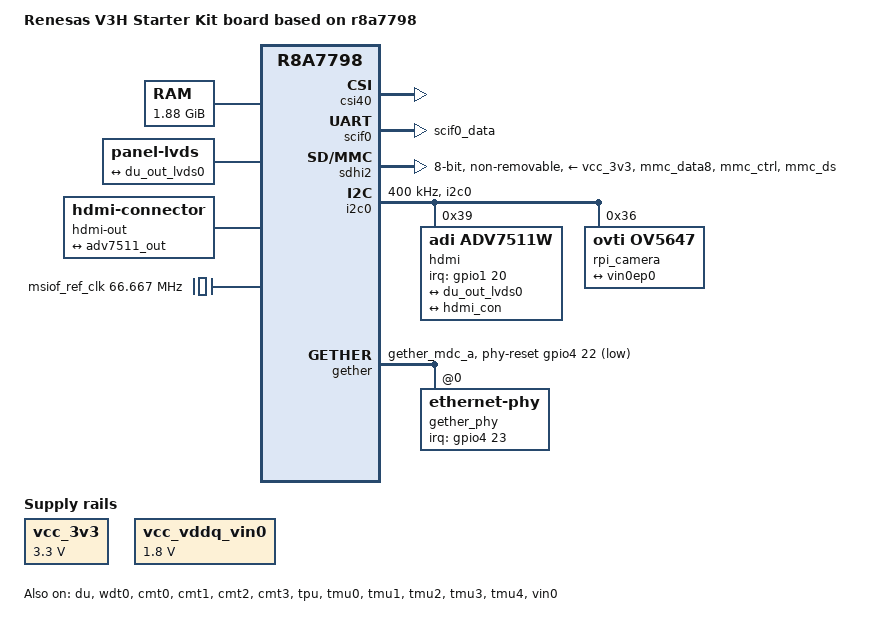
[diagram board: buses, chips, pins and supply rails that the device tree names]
/*
 * Device Tree Source for the V3H Starter Kit board on r8a7798
 *
 * Copyright (C) 2018 Renesas Electronics Corp.
 * Copyright (C) 2018 Cogent Embedded, Inc.
 *
 * This file is licensed under the terms of the GNU General Public License
 * version 2.  This program is licensed "as is" without any warranty of any
 * kind, whether express or implied.
 */

/dts-v1/;
#include "r8a7798.dtsi"
#include <dt-bindings/gpio/gpio.h>

/ {
	model = "Renesas V3H Starter Kit board based on r8a7798";
	compatible = "renesas,v3hsk", "renesas,r8a7798";

	aliases {
		serial0 = &scif0;
		ethernet0 = &gether;
	};

	chosen {
		bootargs = "ignore_loglevel rw root=/dev/nfs ip=dhcp";
		stdout-path = "serial0:115200n8";
	};


	memory@48000000 {
		device_type = "memory";
		/* first 128MB is reserved for secure area. */
		reg = <0x0 0x48000000 0x0 0x78000000>;
	};

	reserved-memory {
		#address-cells = <2>;
		#size-cells = <2>;
		ranges;

		/* device specific region for Lossy Decompression */
		lossy_decompress: linux,lossy_decompress {
			no-map;
			reg = <0x00000000 0x6c000000 0x0 0x03000000>;
		};

		/* global autoconfigured region for contiguous allocations */
		linux,cma {
			compatible = "shared-dma-pool";
			reusable;
			reg = <0x00000000 0x6f000000 0x0 0x10000000>;
			linux,cma-default;
		};

		/* device specific region for contiguous allocations */
		linux,multimedia {
			compatible = "shared-dma-pool";
			reusable;
			reg = <0x00000000 0x7f000000 0x0 0x01000000>;
		};
	};

	mmngr {
		compatible = "renesas,mmngr";
		memory-region = <&lossy_decompress>;
	};

	mmngrbuf {
		compatible = "renesas,mmngrbuf";
	};

	vspm_if {
		compatible = "renesas,vspm_if";
	};

	lvds {
		compatible = "panel-lvds";

		width-mm = <210>;
		height-mm = <158>;

		data-mapping = "jeida-24";

		panel-timing {
			clock-frequency = <65000000>;
			hactive = <1280>;
			vactive = <720>;
			hsync-len = <40>;
			hfront-porch = <80>;
			hback-porch = <40>;
			vfront-porch = <14>;
			vback-porch = <14>;
			vsync-len = <4>;
		};

		port {
			lvds_in: endpoint {
				remote-endpoint = <&du_out_lvds0>;
			};
		};
	};

	hdmi-out {
		compatible = "hdmi-connector";
		type = "a";

		port {
			hdmi_con: endpoint {
				remote-endpoint = <&adv7511_out>;
			};
		};
	};

	dclkin_p0: clock-out0 {
		compatible = "fixed-clock";
		#clock-cells = <0>;
		clock-frequency = <148500000>;
	};

	msiof_ref_clk: msiof-ref-clock {
		compatible = "fixed-clock";
		#clock-cells = <0>;
		clock-frequency = <66666666>;
	};

	vcc_3v3: regulator0 {
		compatible = "regulator-fixed";
		regulator-name = "fixed-VCC3V3";
		regulator-min-microvolt = <3300000>;
		regulator-max-microvolt = <3300000>;
		regulator-boot-on;
		regulator-always-on;
	};

	vcc_vddq_vin0: regulator1 {
		compatible = "regulator-fixed";
		regulator-name = "VCC-VDDQ-VIN0";
		regulator-min-microvolt = <1800000>;
		regulator-max-microvolt = <1800000>;
		regulator-boot-on;
		regulator-always-on;
	};
};

&csi40 {
	status = "okay";

	virtual,channel {
		csi2_vc0 {
			data,type = "raw8";
			receive,vc = <0>;
		};
	};

	port {
		#address-cells = <1>;
		#size-cells = <0>;

		csi40_ep: endpoint {
			clock-lanes = <0>;
			data-lanes = <1 2>;
			csi-rate = <280>;
		};
	};
};

&du {
	status = "okay";

	ports {
		port@0 {
			endpoint {
				remote-endpoint = <&adv7511_in>;
//				remote-endpoint = <&lvds_in>;
			};
		};
	};
};

&extal_clk {
	clock-frequency = <16666666>;
};

&extalr_clk {
	clock-frequency = <32768>;
};

&pfc {
	pinctrl-0 = <&scif_clk_pins>;
	pinctrl-names = "default";

	scif0_pins: scif0 {
		groups = "scif0_data";
		function = "scif0";
	};

	scif_clk_pins: scif_clk {
		groups = "scif_clk_b";
		function = "scif_clk";
	};

	i2c0_pins: i2c0 {
		groups = "i2c0";
		function = "i2c0";
	};

	gether_pins: gether {
		groups = "gether_mdc_a";
		function = "gether";
	};

	sdhi2_pins_1v8: sdhi2_1v8 {
		groups = "mmc_data8", "mmc_ctrl", "mmc_ds";
		function = "mmc";
		power-source = <1800>;
	};

	sdhi2_pins_3v3: sdhi2_3v3 {
		groups = "mmc_data8", "mmc_ctrl", "mmc_ds";
		function = "mmc";
		power-source = <3300>;
	};

	tpu_pins: tpu {
		/* GP1_19 pin; CP4 test point */
		groups = "tpu_to0";
		function = "tpu";
	};
};

&scif0 {
	pinctrl-0 = <&scif0_pins>;
	pinctrl-names = "default";

	status = "okay";
};

&scif_clk {
	clock-frequency = <14745600>;
	status = "okay";
};

&sdhi2 {
	/* used for on-board eMMC */
	pinctrl-0 = <&sdhi2_pins_3v3>;
	pinctrl-1 = <&sdhi2_pins_1v8>;
	pinctrl-names = "default", "state_uhs";

	vmmc-supply = <&vcc_3v3>;
	vqmmc-supply = <&vcc_vddq_vin0>;
	mmc-hs200-1_8v;
	bus-width = <8>;
	non-removable;
	status = "okay";
};

&i2c0 {
	pinctrl-0 = <&i2c0_pins>;
	pinctrl-names = "default";

	status = "okay";
	clock-frequency = <400000>;

	hdmi@39{
		compatible = "adi,adv7511w";
		#sound-dai-cells = <0>;
		reg = <0x39>;
		interrupt-parent = <&gpio1>;
		interrupts = <20 IRQ_TYPE_LEVEL_LOW>;

		adi,input-depth = <8>;
		adi,input-colorspace = "rgb";
		adi,input-clock = "1x";
		adi,input-style = <1>;
		adi,input-justification = "evenly";

		ports {
			#address-cells = <1>;
			#size-cells = <0>;

			port@0 {
				reg = <0>;
				adv7511_in: endpoint {
					remote-endpoint = <&du_out_lvds0>;
				};
			};
			port@1 {
				reg = <1>;
				adv7511_out: endpoint {
					remote-endpoint = <&hdmi_con>;
				};
			};
		};
	};

	rpi_camera: ov5647@36 {
		compatible = "ovti,ov5647";
		reg = <0x36>;

		port@0 {
			rpi_camera_in: endpoint {
				clock-lanes = <0>;
				data-lanes = <1 2>;
				remote-endpoint = <&vin0ep0>;
			};
		};
	};
};

&wdt0 {
	timeout-sec = <60>;
	status = "okay";
};

&cmt0 {
	status = "okay";
};

&cmt1 {
	status = "okay";
};

&cmt2 {
	status = "okay";
};

&cmt3 {
	status = "okay";
};

&tpu {
	pinctrl-0 = <&tpu_pins>;
	pinctrl-names = "default";
	status = "okay";
};

&tmu0 {
	status = "okay";
};

&tmu1 {
	status = "okay";
};

&tmu2 {
	status = "okay";
};

&tmu3 {
	status = "okay";
};

&tmu4 {
	status = "okay";
};

&gether {
	pinctrl-0 = <&gether_pins>;
	pinctrl-names = "default";
	renesas,no-ether-link;
	phy-handle = <&gether_phy>;
	status = "okay";
	phy-gpios = <&gpio4 23 GPIO_ACTIVE_LOW>;
	phy-reset-gpios = <&gpio4 22 GPIO_ACTIVE_LOW>;

	gether_phy: ethernet-phy@0 {
		reg = <0>;
		interrupt-parent = <&gpio4>;
		interrupts = <23 IRQ_TYPE_LEVEL_LOW>;
		max-speed = <1000>;
	};
};

&vin0 {
	status = "okay";

	ports {
		#address-cells = <1>;
		#size-cells = <0>;

		port@0 {
			vin0ep0: endpoint {
				csi,select = "csi40";
				virtual,channel = <0>;
				remote-endpoint = <&rpi_camera_in>;
				data-lanes = <1 2>;
			};
		};
		port@1 {
			csi0ep0: endpoint {
				remote-endpoint = <&csi40_ep>;
			};
		};
	};
};
